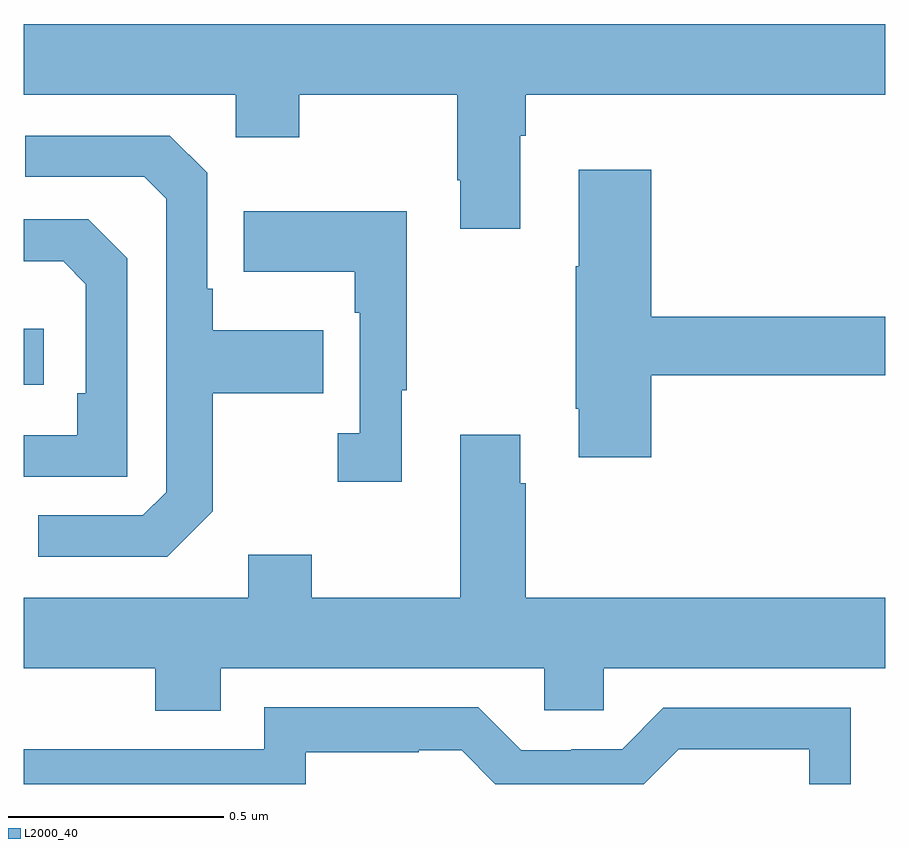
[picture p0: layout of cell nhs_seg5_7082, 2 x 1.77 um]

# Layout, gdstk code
import gdstk
lib = gdstk.Library(unit=1e-6, precision=1e-09)
def R(c, l, rs):  # rectangles x0, y0, x1, y1
    for r in rs: c.add(gdstk.rectangle(r[:2], r[2:], *l))
def P(c, l, *ps):  # polygons
    for p in ps: c.add(gdstk.Polygon(p, *l))
L2000_40 = (2000, 40)

nhs_seg5_7082 = lib.new_cell('nhs_seg5_7082')
R(nhs_seg5_7082, L2000_40, [(204,882.726,204.046,882.856)])
P(nhs_seg5_7082, L2000_40, [(205.153,883.304),(205.166,883.304),(205.166,883.4),(206,883.4),(206,883.564),(204,883.564),(204,883.4),(204.492,883.4),(204.492,883.301),(204.639,883.301),(204.639,883.4),(205.006,883.4),(205.006,883.201),(205.013,883.201),(205.013,883.089),(205.153,883.089)],
  [(204.439,882.433),(204.439,882.706),(204.695,882.706),(204.695,882.853),(204.439,882.853),(204.439,882.949),(204.426,882.949),(204.426,883.218),(204.339,883.305),(204.003,883.305),(204.003,883.209),(204.279,883.209),(204.33,883.158),(204.33,882.477),(204.276,882.423),(204.033,882.423),(204.033,882.327),(204.333,882.327)],
  [(205.457,882.748),(206,882.748),(206,882.884),(205.457,882.884),(205.457,883.225),(205.289,883.225),(205.289,883.001),(205.282,883.001),(205.282,882.67),(205.289,882.67),(205.289,882.558),(205.457,882.558)],
  [(204.877,882.713),(204.889,882.713),(204.889,883.129),(204.511,883.129),(204.511,882.989),(204.768,882.989),(204.768,882.893),(204.78,882.893),(204.78,882.614),(204.729,882.614),(204.729,882.501),(204.877,882.501)],
  [(204.24,883.02),(204.15,883.11),(204,883.11),(204,883.013),(204.091,883.013),(204.144,882.96),(204.144,882.706),(204.124,882.706),(204.124,882.609),(204,882.609),(204,882.513),(204.24,882.513)],
  [(204.457,882.068),(205.209,882.068),(205.209,881.97),(205.347,881.97),(205.347,882.068),(206,882.068),(206,882.232),(205.166,882.232),(205.166,882.497),(205.153,882.497),(205.153,882.61),(205.013,882.61),(205.013,882.232),(204.669,882.232),(204.669,882.331),(204.521,882.331),(204.521,882.232),(204,882.232),(204,882.068),(204.305,882.068),(204.305,881.969),(204.457,881.969)],
  [(204.654,881.873),(204.917,881.873),(204.917,881.877),(205.017,881.877),(205.095,881.799),(205.44,881.799),(205.521,881.88),(205.824,881.88),(205.824,881.799),(205.92,881.799),(205.92,881.976),(205.485,881.976),(205.389,881.88),(205.271,881.88),(205.271,881.877),(205.155,881.877),(205.055,881.977),(204.558,881.977),(204.558,881.88),(204,881.88),(204,881.799),(204.654,881.799)])

lib.write_gds('nhs_seg5_7082.gds')
